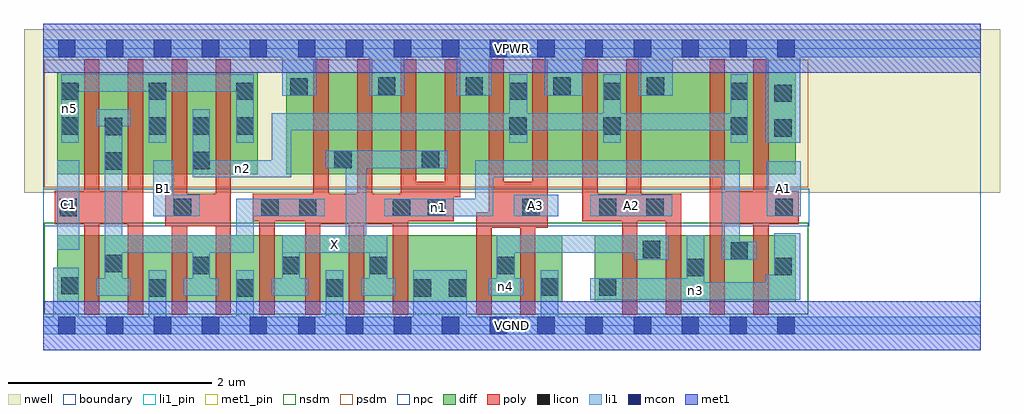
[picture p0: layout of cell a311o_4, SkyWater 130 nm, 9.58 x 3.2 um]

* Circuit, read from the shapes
.subckt a311o_4 A1 A2 A3 B1 C1 VGND VPWR X n1 n2 n3 n4 n5
XM1 n1 C1 VGND VSUBS sky130_fd_pr__nfet_01v8 w=0.65 l=0.15 m=2
XM2 n1 B1 VGND VSUBS sky130_fd_pr__nfet_01v8 w=0.65 l=0.15 m=2
XM3 X n1 VGND VSUBS sky130_fd_pr__nfet_01v8 w=0.65 l=0.15 m=4
XM4 n4 A3 VGND VSUBS sky130_fd_pr__nfet_01v8 w=0.65 l=0.15 m=2
XM5 n4 A2 n3 VSUBS sky130_fd_pr__nfet_01v8 w=0.65 l=0.15 m=2
XM6 n1 A1 n3 VSUBS sky130_fd_pr__nfet_01v8 w=0.65 l=0.15 m=2
XM7 n1 C1 n5 n6 sky130_fd_pr__pfet_01v8 w=1 l=0.15 m=2
XM8 n2 B1 n5 n6 sky130_fd_pr__pfet_01v8 w=1 l=0.15 m=2
XM9 X n1 VPWR n6 sky130_fd_pr__pfet_01v8 w=1 l=0.15 m=4
XM10 n2 A3 VPWR n6 sky130_fd_pr__pfet_01v8 w=1 l=0.15 m=2
XM11 n2 A2 VPWR n6 sky130_fd_pr__pfet_01v8 w=1 l=0.15 m=2
XM12 n2 A1 VPWR n6 sky130_fd_pr__pfet_01v8 w=1 l=0.15 m=2
.ends

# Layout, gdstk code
import gdstk
lib = gdstk.Library(unit=1e-6, precision=1e-09)
def R(c, l, rs):  # rectangles x0, y0, x1, y1
    for r in rs: c.add(gdstk.rectangle(r[:2], r[2:], *l))
def A(c, l, x, y, w, h, nx, ny, dx, dy):  # array of equal rectangles
    R(c, l, [(x+i*dx, y+j*dy, x+i*dx+w, y+j*dy+h) for i in range(nx) for j in range(ny)])
nwell = (64, 20)
diff = (65, 20)
poly = (66, 20)
licon = (66, 44)
li1_pin = (67, 16)
li1 = (67, 20)
mcon = (67, 44)
met1_pin = (68, 16)
met1 = (68, 20)
nsdm = (93, 44)
psdm = (94, 20)
npc = (95, 20)
boundary = (235, 4)

a311o_4 = lib.new_cell('a311o_4')
R(a311o_4, nwell, [(-0.19,1.305,9.39,2.91), (0,1.305,9.2,2.91)])
R(a311o_4, diff, [(0.135,0.235,5.095,0.885), (5.41,0.235,7.385,0.885), (0.135,1.485,2.105,2.485), (2.385,1.485,7.385,2.485)])
A(a311o_4, poly, 0.4, 0.105, 0.15, 2.51, 4, 1, 0.43, 0)
A(a311o_4, poly, 2.57, 0.105, 0.15, 1.19, 3, 1, 0.43, 0)
R(a311o_4, poly, [(2.12,0.105,2.27,1.295), (4.25,0.105,4.4,1.11), (4.68,0.105,4.83,1.41), (5.68,0.105,5.83,1.295), (6.11,0.105,6.26,1.295), (6.54,0.105,6.69,2.615), (6.97,0.105,7.12,2.615), (4.37,0.96,4.95,1.41), (4.37,0.96,4.52,2.615), (4.8,0.96,4.95,2.615), (1.195,0.975,1.84,1.295), (0.11,0.995,0.98,1.325), (2.57,0.995,3.58,1.295), (2.65,0.995,2.8,2.615), (3.08,0.995,3.23,2.615), (6.54,0.995,7.415,1.325), (2.055,1.025,4.03,1.295), (3.51,1.025,3.66,2.615), (5.29,1.025,5.44,2.615), (5.29,1.025,6.26,1.295), (5.72,1.025,5.87,2.615), (3.51,1.26,4.09,1.41), (3.94,1.41,4.09,2.615)])
A(a311o_4, licon, 1.035, 1.875, 0.17, 0.17, 3, 1, 0.43, 0)
A(a311o_4, licon, 0.175, 2.215, 0.17, 0.17, 3, 1, 0.86, 0)
A(a311o_4, licon, 3.285, 2.265, 0.17, 0.17, 3, 1, 0.86, 0)
R(a311o_4, licon, [(1.035,0.285,1.205,0.455), (1.895,0.285,2.065,0.455), (2.775,0.285,2.945,0.455), (3.635,0.285,3.805,0.455), (3.98,0.285,4.15,0.455), (4.885,0.295,5.055,0.465), (5.455,0.295,5.625,0.465), (0.175,0.305,0.345,0.475), (6.315,0.485,6.485,0.655), (7.175,0.495,7.345,0.665), (1.465,0.505,1.635,0.675), (2.345,0.505,2.515,0.675), (3.205,0.505,3.375,0.675), (4.455,0.505,4.625,0.675), (0.605,0.525,0.775,0.695), (6.745,0.65,6.915,0.82), (5.885,0.66,6.055,0.83), (0.16,1.075,0.33,1.245), (1.28,1.075,1.45,1.245), (2.14,1.075,2.31,1.245), (2.51,1.075,2.68,1.245), (3.43,1.075,3.6,1.245), (3.775,1.075,3.945,1.245), (4.7,1.075,4.87,1.245), (5.455,1.075,5.625,1.245), (5.92,1.075,6.09,1.245), (7.185,1.075,7.355,1.245), (0.605,1.53,0.775,1.7), (1.465,1.535,1.635,1.705), (2.855,1.545,3.025,1.715), (3.715,1.545,3.885,1.715), (7.175,1.855,7.345,2.025), (0.605,1.87,0.775,2.04), (0.175,1.875,0.345,2.045), (4.575,1.875,4.745,2.045), (5.495,1.875,5.665,2.045), (6.745,1.875,6.915,2.045), (7.175,2.195,7.345,2.365), (4.575,2.215,4.745,2.385), (5.495,2.215,5.665,2.385), (6.745,2.215,6.915,2.385), (2.425,2.255,2.595,2.425), (5.925,2.265,6.095,2.435)])
R(a311o_4, li1_pin, [(2.345,0.715,3.375,0.885), (0.135,0.745,0.35,1.625), (1.08,1.075,1.28,1.625), (4.615,1.075,5.055,1.285), (5.37,1.075,6.175,1.285), (7.1,1.075,7.435,1.615)])
A(a311o_4, li1, 0.175, 1.795, 0.17, 0.67, 3, 1, 0.86, 0)
R(a311o_4, li1, [(0,-0.085,9.2,0.085), (0.095,-0.085,0.345,0.565), (1.035,-0.085,1.205,0.545), (1.895,-0.085,2.065,0.545), (2.77,-0.085,2.945,0.545), (3.63,-0.085,4.155,0.545), (4.88,-0.085,5.055,0.545), (5.37,0.255,7.43,0.425), (5.37,0.255,6.485,0.465), (6.315,0.255,6.485,0.885), (7.09,0.255,7.43,0.5), (7.175,0.255,7.43,0.905), (0.52,0.295,0.86,0.465), (0.605,0.295,0.775,2.125), (1.38,0.295,1.72,0.465), (1.465,0.295,1.635,0.885), (2.24,0.295,2.6,0.465), (2.345,0.295,2.515,0.885), (3.12,0.295,3.46,0.465), (3.2,0.295,3.375,0.885), (4.37,0.295,4.71,0.465), (4.45,0.295,4.625,0.885), (5.8,0.645,6.14,0.885), (6.66,0.645,6.835,1.625), (6.66,0.645,7,0.825), (0.605,0.715,2.065,0.885), (1.895,0.715,2.065,1.245), (2.345,0.715,3.375,0.885), (2.97,0.715,3.17,1.715), (4.45,0.715,6.14,0.885), (0.135,0.745,0.35,1.625), (1.08,1.075,1.28,1.625), (1.08,1.075,1.535,1.285), (1.895,1.075,2.76,1.245), (3.345,1.075,4.415,1.245), (4.24,1.075,4.415,1.625), (4.615,1.075,5.055,1.285), (5.37,1.075,6.175,1.285), (7.1,1.075,7.435,1.615), (1.465,1.455,1.635,2.125), (1.465,1.455,2.435,1.625), (2.24,1.455,2.435,2.085), (4.24,1.455,6.835,1.625), (2.77,1.545,3.97,1.715), (4.575,1.795,4.75,2.465), (5.495,1.795,5.665,2.465), (6.745,1.795,6.915,2.465), (7.09,1.795,7.43,2.805), (2.24,1.915,6.915,2.085), (0.52,1.955,0.86,2.125), (2.345,2.255,2.68,2.805), (3.2,2.255,3.54,2.805), (4.06,2.255,4.4,2.805), (4.92,2.255,5.29,2.805), (5.84,2.255,6.18,2.805), (0.175,2.295,2.065,2.465), (0,2.635,9.2,2.805)])
A(a311o_4, mcon, 0.145, -0.085, 0.17, 0.17, 5, 2, 0.47, 2.72)
A(a311o_4, mcon, 2.5, -0.085, 0.17, 0.17, 7, 2, 0.47, 2.72)
A(a311o_4, mcon, 5.795, -0.085, 0.17, 0.17, 4, 2, 0.47, 2.72)
R(a311o_4, met1_pin, [(0,-0.24,9.2,0.24), (0,2.48,9.2,2.96)])
R(a311o_4, met1, [(0,-0.24,9.2,0.24), (0,2.48,9.2,2.96)])
R(a311o_4, nsdm, [(0.01,0.11,7.51,1.01)])
R(a311o_4, psdm, [(0.01,1.36,7.51,2.61)])
R(a311o_4, npc, [(0,0.975,7.52,1.345)])
R(a311o_4, boundary, [(0,0,9.2,2.72)])
a311o_4.add(gdstk.Label('A1', (7.267,1.345), layer=67, texttype=5))
a311o_4.add(gdstk.Label('A2', (5.772,1.18), layer=67, texttype=5))
a311o_4.add(gdstk.Label('A3', (4.835,1.18), layer=67, texttype=5))
a311o_4.add(gdstk.Label('B1', (1.18,1.35), layer=67, texttype=5))
a311o_4.add(gdstk.Label('C1', (0.242,1.185), layer=67, texttype=5))
a311o_4.add(gdstk.Label('X', (2.86,0.8), layer=67, texttype=5))
a311o_4.add(gdstk.Label('n4', (4.54,0.38), layer=67, texttype=5))
a311o_4.add(gdstk.Label('n3', (6.4,0.34), layer=67, texttype=5))
a311o_4.add(gdstk.Label('n1', (3.88,1.16), layer=67, texttype=5))
a311o_4.add(gdstk.Label('n5', (0.26,2.13), layer=67, texttype=5))
a311o_4.add(gdstk.Label('n2', (1.95,1.54), layer=67, texttype=5))
a311o_4.add(gdstk.Label('VPWR', (4.6,2.72), layer=68, texttype=5))
a311o_4.add(gdstk.Label('VGND', (4.6,0), layer=68, texttype=5))
a311o_4.add(gdstk.Label('A1', (7.267,1.345), layer=67, texttype=16))
a311o_4.add(gdstk.Label('A2', (5.772,1.18), layer=67, texttype=16))
a311o_4.add(gdstk.Label('A3', (4.835,1.18), layer=67, texttype=16))
a311o_4.add(gdstk.Label('B1', (1.18,1.35), layer=67, texttype=16))
a311o_4.add(gdstk.Label('C1', (0.242,1.185), layer=67, texttype=16))
a311o_4.add(gdstk.Label('X', (2.86,0.8), layer=67, texttype=16))
a311o_4.add(gdstk.Label('VPWR', (4.6,2.72), layer=68, texttype=16))
a311o_4.add(gdstk.Label('VGND', (4.6,0), layer=68, texttype=16))

lib.write_gds('a311o_4.gds')
